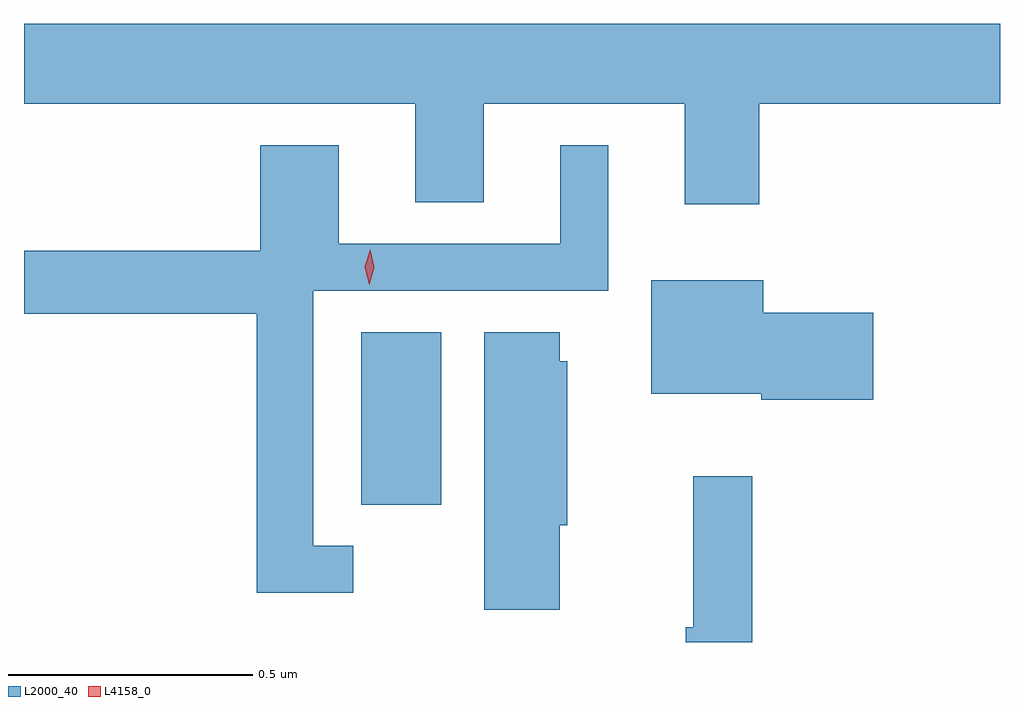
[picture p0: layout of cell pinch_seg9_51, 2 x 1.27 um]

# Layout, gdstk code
import gdstk
lib = gdstk.Library(unit=1e-6, precision=1e-09)
def R(c, l, rs):  # rectangles x0, y0, x1, y1
    for r in rs: c.add(gdstk.rectangle(r[:2], r[2:], *l))
def P(c, l, *ps):  # polygons
    for p in ps: c.add(gdstk.Polygon(p, *l))
L2000_40 = (2000, 40)
L4158_0 = (4158, 0)

pinch_seg9_51 = lib.new_cell('pinch_seg9_51')
R(pinch_seg9_51, L2000_40, [(972.746,1172.955,972.91,1173.308)])
P(pinch_seg9_51, L2000_40, [(973.562,1173.776),(974.055,1173.776),(974.055,1173.94),(972.055,1173.94),(972.055,1173.776),(972.857,1173.776),(972.857,1173.574),(972.997,1173.574),(972.997,1173.776),(973.409,1173.776),(973.409,1173.57),(973.562,1173.57)],
  [(972.73,1172.871),(972.648,1172.871),(972.648,1173.393),(973.252,1173.393),(973.252,1173.691),(973.154,1173.691),(973.154,1173.489),(972.7,1173.489),(972.7,1173.691),(972.539,1173.691),(972.539,1173.475),(972.055,1173.475),(972.055,1173.346),(972.532,1173.346),(972.532,1172.774),(972.73,1172.774)],
  [(973.795,1173.348),(973.57,1173.348),(973.57,1173.415),(973.34,1173.415),(973.34,1173.182),(973.566,1173.182),(973.566,1173.17),(973.795,1173.17)],
  [(973.153,1172.913),(973.168,1172.913),(973.168,1173.249),(973.153,1173.249),(973.153,1173.308),(972.998,1173.308),(972.998,1172.739),(973.153,1172.739)],
  [(973.547,1173.013),(973.426,1173.013),(973.426,1172.704),(973.411,1172.704),(973.411,1172.673),(973.547,1172.673)])
P(pinch_seg9_51, L4158_0, [(972.762,1173.405),(972.762,1173.405),(972.753,1173.442),(972.765,1173.477),(972.765,1173.478),(972.765,1173.477),(972.773,1173.441),(972.762,1173.405)])

lib.write_gds('pinch_seg9_51.gds')
